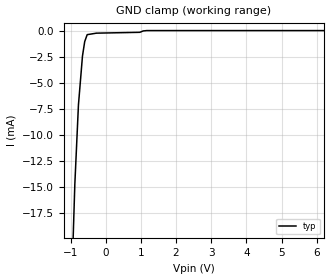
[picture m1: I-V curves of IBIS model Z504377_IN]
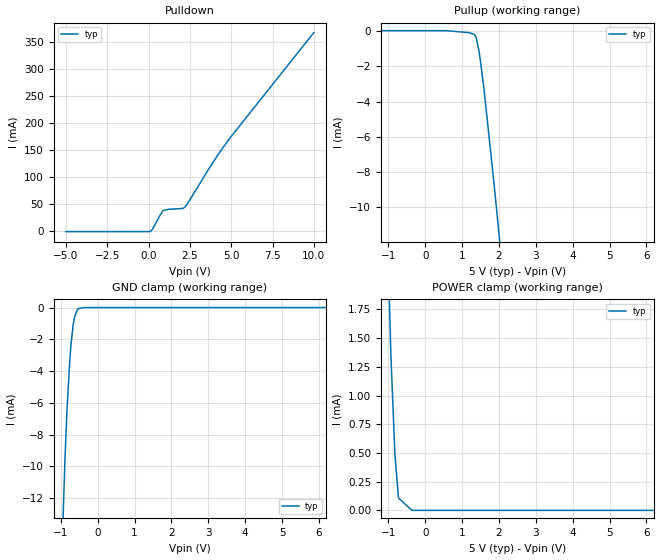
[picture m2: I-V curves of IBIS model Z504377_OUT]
| YOU ARE ONLY AUTHORIZED TO USE THIS SOFTWARE
| ACCORDING TO LICENSOR'S LICENSE RESTRICTIONS.
[IBIS Ver] 3.1
[File Name] sn54ls137j.ibs
[File Rev] 2.0
[Source] Measured and created by ICX Technology
[Date] Friday 7/14/00 9:08:13 AM
[Copyright]
| (C) COPYRIGHT 1993-2000
| MENTOR GRAPHICS CORPORATION
| ICX STANDARD LIBRARY, ICX PROJECT MODELING,
| ICX CUSTOM MODELING, ICX VENDOR MODEL
| ALL RIGHTS RESERVED.
| THE FOLLOWING ARE TRADEMARKS OR SERVICE MARKS OF
| MENTOR GRAPHICS CORPORATION:ICX (R), ICX STANDARD
| LIBRARY(R), ICX PROJECT MODELING(R), ICX CUSTOM
| MODELING(R), qualityIBIS(TM), MODELVIEWER(TM),
| AND MODELEDITOR(TM)
| ALL COPIES OF SOFTWARE, INCLUDING BUT NOT LIMITED TO
| ANY MODIFICATIONS, ENHANCEMENTS OR DERIVATIVE WORKS,
| MUST CONTAIN ALL MENTOR GRAPHICS CORPORATION'S
| NOTICES AND LEGENDS, INCLUDING THOSE EMBEDDED IN
| SOFTWARE AND THOSE AFFIXED TO SOFTWARE MEDIUM
| AND CONTAINER, AS RECEIVED FROM MENTOR GRAPHICS
| CORPORATION.
|  ZAP Model Builder 2.7
[Component] SN54LS137J
[Manufacturer] OnSemiconductor
[Package]
| variable   typ   min   max
R_pkg  .212ohms NA NA
L_pkg  4.758nH NA NA
C_pkg  1.944pF NA NA
[Pin] signal_name  model_name  R_pin  L_pin C_pin
1 A Z504377_IN .224 7.258n 2.683p
2 B Z504377_IN .216 5.258n 2.19p
3 C Z504377_IN .208 3.758n 1.697p
4 _GL Z504377_IN .2 2.758n 1.204p
5 _G2 Z504377_IN .2 2.758n 1.204p
6 G1 Z504377_IN .208 3.758n 1.697p
7 _Y7 Z504377_OUT .216 5.258n 2.19p
8 GND GND .224 7.258n 2.683p
9 _Y6 Z504377_OUT .224 7.258n 2.683p
10 _Y5 Z504377_OUT .216 5.258n 2.19p
11 _Y4 Z504377_OUT .208 3.758n 1.697p
12 _Y3 Z504377_OUT .2 2.758n 1.204p
13 _Y2 Z504377_OUT .2 2.758n 1.204p
14 _Y1 Z504377_OUT .208 3.758n 1.697p
15 _Y0 Z504377_OUT .216 5.258n 2.19p
16 VCC POWER .224 7.258n 2.683p
| Models and submodels in the file (2): Z504377_IN (Input), Z504377_OUT (Output)
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| (C) COPYRIGHT 1993-2000
| MENTOR GRAPHICS CORPORATION
| ICX STANDARD LIBRARY, ICX PROJECT MODELING,
| ICX CUSTOM MODELING, ICX VENDOR MODEL
| ALL RIGHTS RESERVED.
| THE FOLLOWING ARE TRADEMARKS OR SERVICE MARKS OF
| MENTOR GRAPHICS CORPORATION:ICX (R), ICX STANDARD
| LIBRARY(R), ICX PROJECT MODELING(R), ICX CUSTOM
| MODELING(R), qualityIBIS(TM), MODELVIEWER(TM),
| AND MODELEDITOR(TM)
| ALL COPIES OF SOFTWARE, INCLUDING BUT NOT LIMITED TO
| ANY MODIFICATIONS, ENHANCEMENTS OR DERIVATIVE WORKS,
| MUST CONTAIN ALL MENTOR GRAPHICS CORPORATION'S
| NOTICES AND LEGENDS, INCLUDING THOSE EMBEDDED IN
| SOFTWARE AND THOSE AFFIXED TO SOFTWARE MEDIUM
| AND CONTAINER, AS RECEIVED FROM MENTOR GRAPHICS
| CORPORATION.
| Model Application Version 1.89 2/18/99.
[Model] Z504377_IN
Model_type Input
Vinl = 800.0mV
Vinh = 2.000V
C_comp 4.000pF NA NA
| variable typ   min   max
[Voltage Range] 5.000V NA NA
[GND Clamp Reference] 0.000V NA NA
[POWER Clamp Reference] 5.000V NA NA
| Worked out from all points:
|   GND clamp passes 1 mA (typ) near -0.59 V on its own axis
[GND Clamp]
-5V       -461.9mA   NA         NA
-878.6mV  -14.79mA   NA         NA
-775.8mV  -7.153mA   NA         NA
-661.1mV  -2.45mA    NA         NA
-598mV    -1.065mA   NA         NA
-527.3mV  -393.7uA   NA         NA
-263.7mV  -249.9uA   NA         NA
971mV     -168.5uA   NA         NA
1.065V    -37.14uA   NA         NA
1.168V    -2.046uA   NA         NA
10V       -2.046uA   NA         NA
[POWER Clamp]
-5V       0A         NA         NA
10V       0A         NA         NA
| (C) COPYRIGHT 1993-2000
| MENTOR GRAPHICS CORPORATION
| ICX STANDARD LIBRARY, ICX PROJECT MODELING,
| ICX CUSTOM MODELING, ICX VENDOR MODEL
| ALL RIGHTS RESERVED.
| THE FOLLOWING ARE TRADEMARKS OR SERVICE MARKS OF
| MENTOR GRAPHICS CORPORATION:ICX (R), ICX STANDARD
| LIBRARY(R), ICX PROJECT MODELING(R), ICX CUSTOM
| MODELING(R), qualityIBIS(TM), MODELVIEWER(TM),
| AND MODELEDITOR(TM)
| ALL COPIES OF SOFTWARE, INCLUDING BUT NOT LIMITED TO
| ANY MODIFICATIONS, ENHANCEMENTS OR DERIVATIVE WORKS,
| MUST CONTAIN ALL MENTOR GRAPHICS CORPORATION'S
| NOTICES AND LEGENDS, INCLUDING THOSE EMBEDDED IN
| SOFTWARE AND THOSE AFFIXED TO SOFTWARE MEDIUM
| AND CONTAINER, AS RECEIVED FROM MENTOR GRAPHICS
| CORPORATION.
| Model Application Version 1.89 2/18/99.
[Model] Z504377_OUT
Model_type Output
Vref=5.000V
Rref=2.000kohms
Cref=15.00pF
Vmeas=1.300V
C_comp 8.000pF NA NA
| variable typ   min   max
[Voltage Range] 5.000V NA NA
[POWER Clamp Reference] 5.000V NA NA
[Pullup Reference] 5.000V NA NA
[Pulldown Reference] 0.000V NA NA
[GND Clamp Reference] 0.000V NA NA
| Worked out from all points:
|   slope of the pulldown table from 0 to 0.75 V, typ, clamps not added: 22.6 ohm
|   slope of the pullup table from 0 to 0.75 V, typ, clamps not added: 22.7 kohm
|   GND clamp passes 1 mA (typ) near -0.66 V on its own axis
|   POWER clamp passes 1 mA (typ) near -0.89 V on its own axis
[GND Clamp]
-5V       -494.2mA   NA         NA
-1.044V   -20.74mA   NA         NA
-893.6mV  -9.824mA   NA         NA
-839.8mV  -6.686mA   NA         NA
-764.8mV  -3.555mA   NA         NA
-727.3mV  -2.35mA    NA         NA
-664.1mV  -1.017mA   NA         NA
-625mV    -566.6uA   NA         NA
-529.1mV  -61.14uA   NA         NA
-352.7mV  0A         NA         NA
10V       0A         NA         NA
[Pulldown]
-5V       -850.1uA   NA         NA
87.89mV   -413.6uA   NA         NA
244.1mV   4.092mA    NA         NA
752mV     32.49mA    NA         NA
902.8mV   38.46mA    NA         NA
2.037V    41.93mA    NA         NA
2.178V    43.97mA    NA         NA
2.578V    61.84mA    NA         NA
3.555V    110.9mA    NA         NA
4.541V    156.3mA    NA         NA
10V       367.3mA    NA         NA
[Pullup]
-5V       15.41uA    NA         NA
566mV     15.41uA    NA         NA
1.183V    -95.53uA   NA         NA
1.323V    -180.8uA   NA         NA
1.382V    -374.2uA   NA         NA
1.47V     -1.264mA   NA         NA
1.592V    -3.261mA   NA         NA
1.875V    -8.831mA   NA         NA
10V       -181.6mA   NA         NA
[POWER Clamp]
-5V       48.51mA    NA         NA
-933mV    1.359mA    NA         NA
-825mV    498.6uA    NA         NA
-727mV    107.9uA    NA         NA
-363.5mV  0A         NA         NA
10V       0A         NA         NA
[Ramp]
| variable typ min max
dV/dt_r 1.885/7.705n NA NA
dV/dt_f 1.885/2.647n NA NA
R_load = 500.0Ohms
